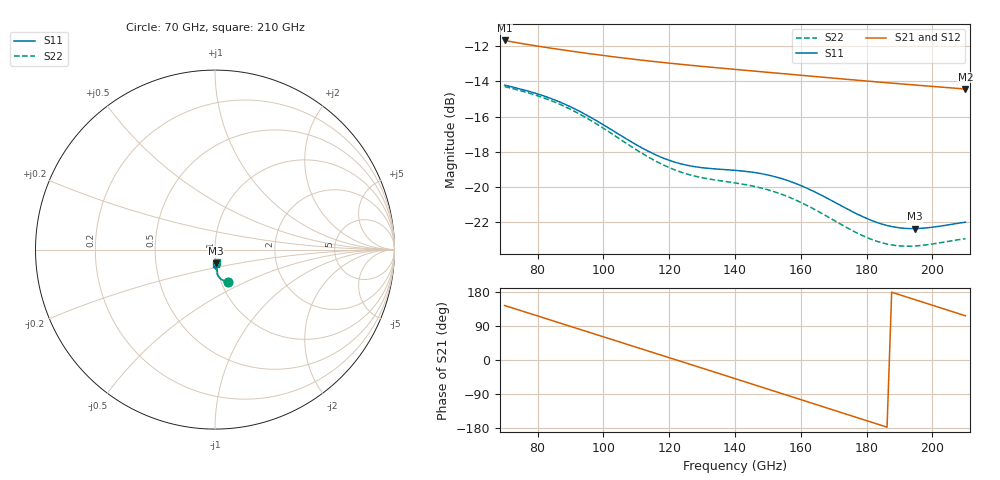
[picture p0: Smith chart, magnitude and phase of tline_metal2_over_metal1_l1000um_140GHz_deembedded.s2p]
! Created with skrf 2.0.1 (http://scikit-rf.org).
# GHz S DB R 50.0
!freq dBS11 angS11 dBS21 angS21 dBS12 angS12 dBS22 angS22
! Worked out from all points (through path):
!   101 points, 70 GHz to 210 GHz, reference 50 ohm
!   highest |S21| = -11.68 dB at 70 GHz (marker M1); lowest = -14.4 dB at 210 GHz (marker M2)
!   group delay of S21, straight-line fit = 7.68 ps
!   lowest |S11| = -22.3 dB at 194.6 GHz (marker M3), VSWR 1.17, Z = 49.8 - j7.63 ohm
!   |S11| at or under -10 dB: start of sweep to end of sweep
!   |S22| runs from -23.3 to -14.3 dB; largest |S21 - S12| = 2.7e-13
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70  -14.21 -68.4  -11.68 143.8  -11.68 143.8  -14.29 -68.3
77  -14.54 -71.3  -11.90 124.6  -11.90 124.6  -14.64 -71.2
82.6  -14.87 -74.2  -12.07 109.2  -12.07 109.2  -14.98 -74.2
88.2  -15.28 -77.2  -12.23 93.8  -12.23 93.8  -15.42 -77.4
93.8  -15.80 -80.1  -12.37 78.3  -12.37 78.3  -15.96 -80.5
99.4  -16.39 -82.5  -12.51 62.9  -12.51 62.9  -16.58 -83.0
106.4  -17.19 -84.4  -12.68 43.6  -12.68 43.6  -17.44 -85.1
112  -17.80 -84.8  -12.80 28.2  -12.80 28.2  -18.10 -85.7
117.6  -18.30 -84.5  -12.91 12.8  -12.91 12.8  -18.68 -85.5
123.2  -18.66 -83.8  -13.02 -2.7  -13.02 -2.7  -19.12 -84.9
128.8  -18.86 -83.3  -13.12 -18.1  -13.12 -18.1  -19.41 -84.3
140  -19.04 -84.4  -13.32 -49.1  -13.32 -49.1  -19.76 -85.0
147  -19.20 -86.6  -13.43 -68.5  -13.43 -68.5  -20.00 -86.9
152.6  -19.43 -88.8  -13.53 -84.0  -13.53 -84.0  -20.30 -88.8
158.2  -19.77 -91.0  -13.62 -99.6  -13.62 -99.6  -20.71 -90.6
163.8  -20.23 -92.8  -13.71 -115.1  -13.71 -115.1  -21.22 -91.9
176.4  -21.45 -93.6  -13.92 -150.1  -13.92 -150.1  -22.53 -91.5
182  -21.92 -92.3  -14.01 -165.6  -14.01 -165.6  -22.99 -89.6
187.6  -22.23 -90.2  -14.09 178.9  -14.09 178.9  -23.27 -87.0
194.6  -22.35 -87.5  -14.20 159.4  -14.20 159.4  -23.33 -84.1
203  -22.19 -85.6  -14.33 136.1  -14.33 136.1  -23.13 -82.3
210  -21.98 -85.7  -14.43 116.7  -14.43 116.7  -22.92 -82.5
